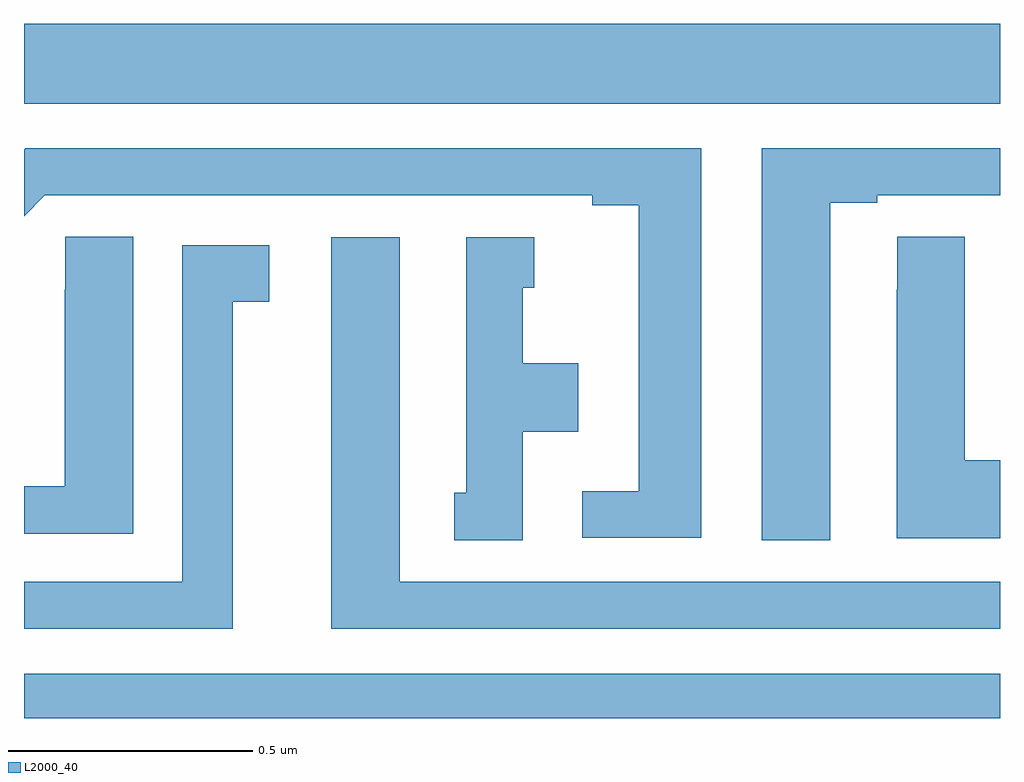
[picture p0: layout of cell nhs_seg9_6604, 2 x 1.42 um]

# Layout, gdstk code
import gdstk
lib = gdstk.Library(unit=1e-6, precision=1e-09)
def R(c, l, rs):  # rectangles x0, y0, x1, y1
    for r in rs: c.add(gdstk.rectangle(r[:2], r[2:], *l))
def P(c, l, *ps):  # polygons
    for p in ps: c.add(gdstk.Polygon(p, *l))
L2000_40 = (2000, 40)

nhs_seg9_6604 = lib.new_cell('nhs_seg9_6604')
R(nhs_seg9_6604, L2000_40, [(194,1188.5,196,1188.592), (194,1189.76,196,1189.924)])
P(nhs_seg9_6604, L2000_40, [(195.652,1189.557),(195.748,1189.557),(195.748,1189.572),(196,1189.572),(196,1189.668),(195.512,1189.668),(195.512,1188.865),(195.652,1188.865)],
  [(195.388,1189.668),(194.003,1189.668),(194,1189.665),(194,1189.529),(194.043,1189.572),(195.164,1189.572),(195.164,1189.552),(195.26,1189.552),(195.26,1188.966),(195.144,1188.966),(195.144,1188.87),(195.388,1188.87)],
  [(194.224,1189.487),(194.085,1189.487),(194.085,1189.379),(194.084,1189.379),(194.084,1188.976),(194,1188.976),(194,1188.879),(194.224,1188.879)],
  [(196,1189.029),(195.928,1189.029),(195.928,1189.487),(195.789,1189.487),(195.789,1189.379),(195.788,1189.379),(195.788,1188.869),(196,1188.869)],
  [(195.022,1189.088),(195.136,1189.088),(195.136,1189.228),(195.022,1189.228),(195.022,1189.383),(195.046,1189.383),(195.046,1189.486),(194.906,1189.486),(194.906,1188.963),(194.882,1188.963),(194.882,1188.865),(195.022,1188.865)],
  [(196,1188.78),(194.77,1188.78),(194.77,1189.486),(194.63,1189.486),(194.63,1188.684),(196,1188.684)],
  [(194.428,1189.354),(194.503,1189.354),(194.503,1189.47),(194.324,1189.47),(194.324,1188.78),(194,1188.78),(194,1188.684),(194.428,1188.684)])

lib.write_gds('nhs_seg9_6604.gds')
